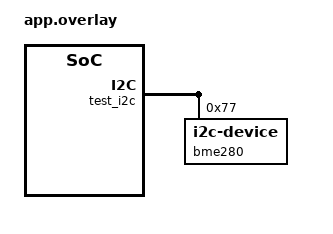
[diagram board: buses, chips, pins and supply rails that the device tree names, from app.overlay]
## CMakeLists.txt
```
cmake_minimum_required(VERSION 3.20.0)

find_package(Zephyr REQUIRED HINTS $ENV{ZEPHYR_BASE})
project(bme280_unit_test)

target_sources(app PRIVATE
    src/bme280_test.c
    ../../src/bme280_raw.c
)

target_include_directories(app PRIVATE
    ../../src
)
```

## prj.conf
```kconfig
CONFIG_ZTEST=y
CONFIG_ZTEST_ASSERT_VERBOSE=2

CONFIG_LOG=y
CONFIG_LOG_DEFAULT_LEVEL=3

CONFIG_I2C=y
```

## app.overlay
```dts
/ {
        test_i2c {
                #address-cells = <1>;
                #size-cells = <0>;

                bme280: bme280@77 {
                        compatible = "i2c-device";
                        status = "okay";
                        reg = <0x77>;
                };
        };
};
```

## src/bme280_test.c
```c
#include <stdint.h>

#include <zephyr/devicetree.h>
#include <zephyr/ztest.h>

#include "bme280_raw.h"

#define BME280_TEST_NODE DT_NODELABEL(bme280)

/*
 * Bosch datasheet reference values:
 * Raw temperature 519888 should produce 25.08 degrees Celsius.
 */
static const struct bme280_calibration reference_calibration = {
        .dig_t1 = 27504,
        .dig_t2 = 26435,
        .dig_t3 = -1000,
};

ZTEST(bme280_test_suite, test_devicetree_node)
{
        zassert_true(DT_NODE_EXISTS(BME280_TEST_NODE),
                     "BME280 node does not exist");

        zassert_true(DT_NODE_HAS_STATUS(BME280_TEST_NODE, okay),
                     "BME280 node is not enabled");

        zassert_equal(DT_REG_ADDR(BME280_TEST_NODE), 0x77,
                      "Expected BME280 address 0x77");
}

ZTEST(bme280_test_suite, test_reference_temperature)
{
        int32_t temperature;

        temperature = bme280_compensate_temperature(
                519888, &reference_calibration);

        zassert_equal(temperature, 2508,
                      "Expected Bosch reference temperature of 25.08 C");
}

ZTEST(bme280_test_suite, test_temperature_sanity_range)
{
        int32_t temperature;

        temperature = bme280_compensate_temperature(
                519888, &reference_calibration);

        zassert_true((temperature >= -4000) &&
                     (temperature <= 8500),
                     "Temperature is outside BME280 operating range");
}

ZTEST(bme280_test_suite, test_temperature_increases)
{
        int32_t lower_temperature;
        int32_t higher_temperature;

        lower_temperature = bme280_compensate_temperature(
                500000, &reference_calibration);

        higher_temperature = bme280_compensate_temperature(
                520000, &reference_calibration);

        zassert_true(higher_temperature > lower_temperature,
                     "Higher raw reading should produce higher temperature");
}

ZTEST_SUITE(bme280_test_suite, NULL, NULL, NULL, NULL, NULL);
```
